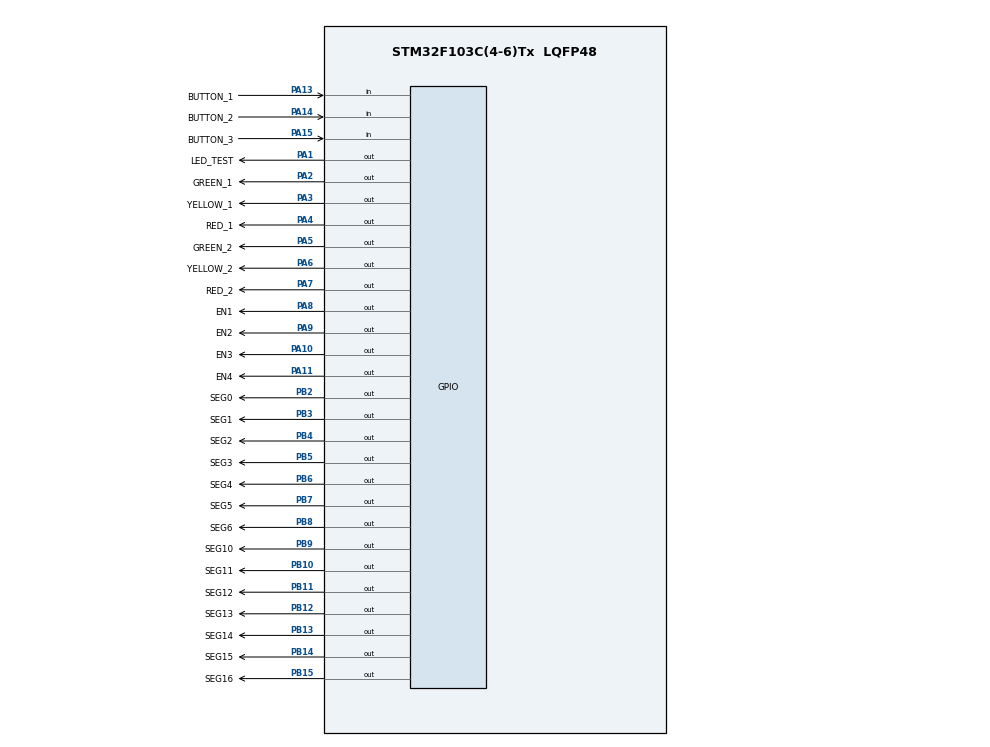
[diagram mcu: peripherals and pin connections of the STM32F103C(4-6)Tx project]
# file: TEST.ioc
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Mcu.Family=STM32F1
Mcu.Name=STM32F103C(4-6)Tx
Mcu.Package=LQFP48
NVIC.PriorityGroup=NVIC_PRIORITYGROUP_4
NVIC.TIM2_IRQn=true\:0\:0\:false\:false\:true\:true\:true\:true
PA1.GPIO_Label=LED_TEST
PA1.Signal=GPIO_Output
PA10.GPIO_Label=EN3
PA10.Signal=GPIO_Output
PA11.GPIO_Label=EN4
PA11.Signal=GPIO_Output
PA13.GPIO_Label=BUTTON_1
PA13.GPIO_PuPd=GPIO_PULLUP
PA13.Signal=GPIO_Input
PA14.GPIO_Label=BUTTON_2
PA14.GPIO_PuPd=GPIO_PULLUP
PA14.Signal=GPIO_Input
PA15.GPIO_Label=BUTTON_3
PA15.GPIO_PuPd=GPIO_PULLUP
PA15.Signal=GPIO_Input
PA2.GPIO_Label=GREEN_1
PA2.Signal=GPIO_Output
PA3.GPIO_Label=YELLOW_1
PA3.Signal=GPIO_Output
PA4.GPIO_Label=RED_1
PA4.Signal=GPIO_Output
PA5.GPIO_Label=GREEN_2
PA5.Signal=GPIO_Output
PA6.GPIO_Label=YELLOW_2
PA6.Signal=GPIO_Output
PA7.GPIO_Label=RED_2
PA7.Signal=GPIO_Output
PA8.GPIO_Label=EN1
PA8.Signal=GPIO_Output
PA9.GPIO_Label=EN2
PA9.Signal=GPIO_Output
PB10.GPIO_Label=SEG11
PB10.Signal=GPIO_Output
PB11.GPIO_Label=SEG12
PB11.Signal=GPIO_Output
PB12.GPIO_Label=SEG13
PB12.Signal=GPIO_Output
PB13.GPIO_Label=SEG14
PB13.Signal=GPIO_Output
PB14.GPIO_Label=SEG15
PB14.Signal=GPIO_Output
PB15.GPIO_Label=SEG16
PB15.Signal=GPIO_Output
PB2.GPIO_Label=SEG0
PB2.Signal=GPIO_Output
PB3.GPIO_Label=SEG1
PB3.Signal=GPIO_Output
PB4.GPIO_Label=SEG2
PB4.Signal=GPIO_Output
PB5.GPIO_Label=SEG3
PB5.Signal=GPIO_Output
PB6.GPIO_Label=SEG4
PB6.Signal=GPIO_Output
PB7.GPIO_Label=SEG5
PB7.Signal=GPIO_Output
PB8.GPIO_Label=SEG6
PB8.Signal=GPIO_Output
PB9.GPIO_Label=SEG10
PB9.Signal=GPIO_Output
ProjectManager.HeapSize=0x200
ProjectManager.StackSize=0x400
ProjectManager.TargetToolchain=STM32CubeIDE
RCC.APB1Freq_Value=8000000
RCC.APB2Freq_Value=8000000
TIM2.Period=9
TIM2.Prescaler=7999
VP_SYS_VS_ND.Mode=No_Debug
VP_TIM2_VS_ClockSourceINT.Mode=Internal
board=custom

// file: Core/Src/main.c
/* USER CODE BEGIN Header */
/**
  ******************************************************************************
  * @file           : main.c
  * @brief          : Main program body
  ******************************************************************************
  * @attention
  *
  * Copyright (c) 2024 STMicroelectronics.
  * All rights reserved.
  *
  * This software is licensed under terms that can be found in the LICENSE file
  * in the root directory of this software component.
  * If no LICENSE file comes with this software, it is provided AS-IS.
  *
  ******************************************************************************
  */
/* USER CODE END Header */
#include "main.h"

/* USER CODE BEGIN Includes */
//#include "software_timer.h"
//#include "led7_segment.h"
//#include "traffic_light.h"

#include "fsm_automatic.h"
#include "fsm_manual.h"

#include "scheduler.h"

/* USER CODE END Includes */

TIM_HandleTypeDef htim2;

void SystemClock_Config(void);
static void MX_GPIO_Init(void);
static void MX_TIM2_Init(void);

/* USER CODE BEGIN 0 */
void led1test(){
	  HAL_GPIO_TogglePin(LED_TEST_GPIO_Port, LED_TEST_Pin);
  }
/* USER CODE END 0 */

int main(void)
{

  /* MCU Configuration--------------------------------------------------------*/

  /* Reset of all peripherals, Initializes the Flash interface and the Systick. */
  HAL_Init();

  /* Configure the system clock */
  SystemClock_Config();

  /* Initialize all configured peripherals */
  MX_GPIO_Init();
  MX_TIM2_Init();
  /* USER CODE BEGIN 2 */
  HAL_TIM_Base_Start_IT(&htim2);
  /* USER CODE END 2 */

  /* Infinite loop */
  /* USER CODE BEGIN WHILE */
  SCH_Init();

  // Thêm các task vào scheduler
  SCH_Add_Task(led1test, 0, 25);
  SCH_Add_Task(timerRun, 0, 1); // Chạy mỗi tick

  SCH_Add_Task(getKeyInput, 0, 1); // Chạy mỗi tick
  SCH_Add_Task(fsm_automatic_Run, 0, 1);
  SCH_Add_Task(fsm_manual_Run, 0, 1);
//   Khởi tạo trạng thái ban đầu
  status = INIT;
  while (1)
  {
    /* USER CODE END WHILE */

    /* USER CODE BEGIN 3 */
    SCH_Dispatch_Tasks();
  }
  /* USER CODE END 3 */
}

void SystemClock_Config(void)
{
  RCC_OscInitTypeDef RCC_OscInitStruct = {0};
  RCC_ClkInitTypeDef RCC_ClkInitStruct = {0};

  /** Initializes the RCC Oscillators according to the specified parameters
  * in the RCC_OscInitTypeDef structure.
  */
  RCC_OscInitStruct.OscillatorType = RCC_OSCILLATORTYPE_HSI;
  RCC_OscInitStruct.HSIState = RCC_HSI_ON;
  RCC_OscInitStruct.HSICalibrationValue = RCC_HSICALIBRATION_DEFAULT;
  RCC_OscInitStruct.PLL.PLLState = RCC_PLL_NONE;
  if (HAL_RCC_OscConfig(&RCC_OscInitStruct) != HAL_OK)
  {
    Error_Handler();
  }

  /** Initializes the CPU, AHB and APB buses clocks
  */
  RCC_ClkInitStruct.ClockType = RCC_CLOCKTYPE_HCLK|RCC_CLOCKTYPE_SYSCLK
                              |RCC_CLOCKTYPE_PCLK1|RCC_CLOCKTYPE_PCLK2;
  RCC_ClkInitStruct.SYSCLKSource = RCC_SYSCLKSOURCE_HSI;
  RCC_ClkInitStruct.AHBCLKDivider = RCC_SYSCLK_DIV1;
  RCC_ClkInitStruct.APB1CLKDivider = RCC_HCLK_DIV1;
  RCC_ClkInitStruct.APB2CLKDivider = RCC_HCLK_DIV1;

  if (HAL_RCC_ClockConfig(&RCC_ClkInitStruct, FLASH_LATENCY_0) != HAL_OK)
  {
    Error_Handler();
  }
}

static void MX_TIM2_Init(void)
{

  TIM_ClockConfigTypeDef sClockSourceConfig = {0};
  TIM_MasterConfigTypeDef sMasterConfig = {0};

  htim2.Instance = TIM2;
  htim2.Init.Prescaler = 7999;
  htim2.Init.CounterMode = TIM_COUNTERMODE_UP;
  htim2.Init.Period = 9;
  htim2.Init.ClockDivision = TIM_CLOCKDIVISION_DIV1;
  htim2.Init.AutoReloadPreload = TIM_AUTORELOAD_PRELOAD_DISABLE;
  if (HAL_TIM_Base_Init(&htim2) != HAL_OK)
  {
    Error_Handler();
  }
  sClockSourceConfig.ClockSource = TIM_CLOCKSOURCE_INTERNAL;
  if (HAL_TIM_ConfigClockSource(&htim2, &sClockSourceConfig) != HAL_OK)
  {
    Error_Handler();
  }
  sMasterConfig.MasterOutputTrigger = TIM_TRGO_RESET;
  sMasterConfig.MasterSlaveMode = TIM_MASTERSLAVEMODE_DISABLE;
  if (HAL_TIMEx_MasterConfigSynchronization(&htim2, &sMasterConfig) != HAL_OK)
  {
    Error_Handler();
  }

}

static void MX_GPIO_Init(void)
{
  GPIO_InitTypeDef GPIO_InitStruct = {0};

  /* GPIO Ports Clock Enable */
  __HAL_RCC_GPIOA_CLK_ENABLE();
  __HAL_RCC_GPIOB_CLK_ENABLE();

  /*Configure GPIO pin Output Level */
  HAL_GPIO_WritePin(GPIOA, LED_TEST_Pin|GREEN_1_Pin|YELLOW_1_Pin|RED_1_Pin
                          |GREEN_2_Pin|YELLOW_2_Pin|RED_2_Pin|EN1_Pin
                          |EN2_Pin|EN3_Pin|EN4_Pin, GPIO_PIN_RESET);

  /*Configure GPIO pin Output Level */
  HAL_GPIO_WritePin(GPIOB, SEG0_Pin|SEG11_Pin|SEG12_Pin|SEG13_Pin
                          |SEG14_Pin|SEG15_Pin|SEG16_Pin|SEG1_Pin
                          |SEG2_Pin|SEG3_Pin|SEG4_Pin|SEG5_Pin
                          |SEG6_Pin|SEG10_Pin, GPIO_PIN_RESET);

  /*Configure GPIO pins : LED_TEST_Pin GREEN_1_Pin YELLOW_1_Pin RED_1_Pin
                           GREEN_2_Pin YELLOW_2_Pin RED_2_Pin EN1_Pin
                           EN2_Pin EN3_Pin EN4_Pin */
  GPIO_InitStruct.Pin = LED_TEST_Pin|GREEN_1_Pin|YELLOW_1_Pin|RED_1_Pin
                          |GREEN_2_Pin|YELLOW_2_Pin|RED_2_Pin|EN1_Pin
                          |EN2_Pin|EN3_Pin|EN4_Pin;
  GPIO_InitStruct.Mode = GPIO_MODE_OUTPUT_PP;
  GPIO_InitStruct.Pull = GPIO_NOPULL;
  GPIO_InitStruct.Speed = GPIO_SPEED_FREQ_LOW;
  HAL_GPIO_Init(GPIOA, &GPIO_InitStruct);

  /*Configure GPIO pins : SEG0_Pin SEG11_Pin SEG12_Pin SEG13_Pin
                           SEG14_Pin SEG15_Pin SEG16_Pin SEG1_Pin
                           SEG2_Pin SEG3_Pin SEG4_Pin SEG5_Pin
                           SEG6_Pin SEG10_Pin */
  GPIO_InitStruct.Pin = SEG0_Pin|SEG11_Pin|SEG12_Pin|SEG13_Pin
                          |SEG14_Pin|SEG15_Pin|SEG16_Pin|SEG1_Pin
                          |SEG2_Pin|SEG3_Pin|SEG4_Pin|SEG5_Pin
                          |SEG6_Pin|SEG10_Pin;
  GPIO_InitStruct.Mode = GPIO_MODE_OUTPUT_PP;
  GPIO_InitStruct.Pull = GPIO_NOPULL;
  GPIO_InitStruct.Speed = GPIO_SPEED_FREQ_LOW;
  HAL_GPIO_Init(GPIOB, &GPIO_InitStruct);

  /*Configure GPIO pins : BUTTON_1_Pin BUTTON_2_Pin BUTTON_3_Pin */
  GPIO_InitStruct.Pin = BUTTON_1_Pin|BUTTON_2_Pin|BUTTON_3_Pin;
  GPIO_InitStruct.Mode = GPIO_MODE_INPUT;
  GPIO_InitStruct.Pull = GPIO_PULLUP;
  HAL_GPIO_Init(GPIOA, &GPIO_InitStruct);

}

/* USER CODE BEGIN 4 */
void HAL_TIM_PeriodElapsedCallback(TIM_HandleTypeDef *htim)
{
  SCH_Update();
}
/* USER CODE END 4 */

void Error_Handler(void)
{
  __disable_irq();
  while (1)
  {
  }
}
